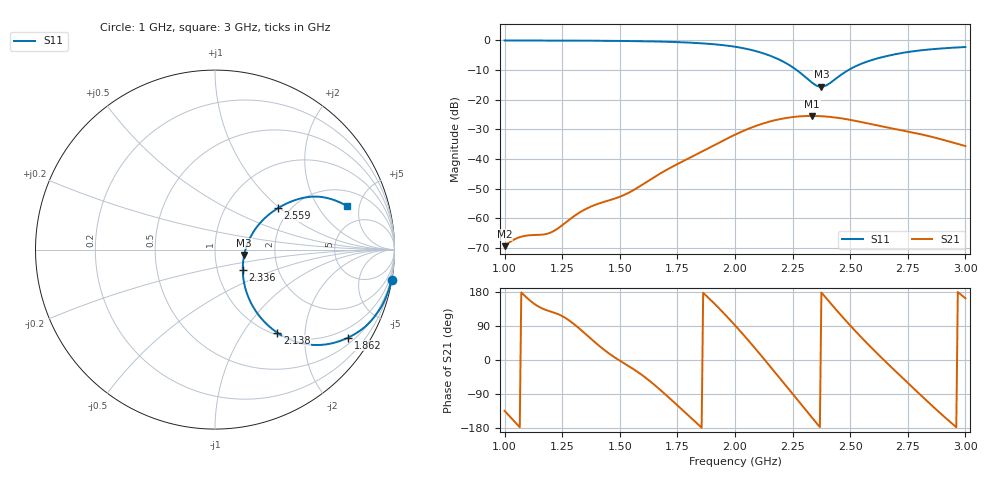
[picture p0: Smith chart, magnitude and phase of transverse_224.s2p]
! TOUCHSTONE file generated by CST MICROWAVE STUDIO
! Date and time: Tue Mar 11 13:57:52 2025
! Project name: transverse.cst
! Parameters = {Fracture=5; B=10; D=160; F=5; Feed=2.85625; L=100; M=20; R=0.384908; S=2; Theta=270; length=57.125; wave=114.25}
! Header version: 2024
! Port assignment regex: !\s*Touchstone port\s*([0-9]+)\s*=\s*(CST MWS port|CST DES external port|CST DES block port)\s*(.+)\s* \(\"(.*)\"\)(\s*mode\s*([0-9]+))?.*
! Touchstone port assignment:
! Touchstone port 1 = CST MWS port 1 ("")
! Touchstone port 2 = CST MWS port 2 ("")
# GHz S MA R 50
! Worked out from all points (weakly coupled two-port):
!   305 points, 1 GHz to 3 GHz, reference 50 ohm
!   highest |S21| = -25.47 dB at 2.336 GHz (marker M1); lowest = -69.4 dB at 1 GHz (marker M2)
!   lowest |S11| = -15.6 dB at 2.375 GHz (marker M3), VSWR 1.40, Z = 69.3 - j4.24 ohm
!   |S11| at or under -10 dB: 2.268 GHz to 2.492 GHz (224.4 MHz wide, 9.43 % of centre)
!   S12 and S22 are empty: the file has one direction only
!   S11 on the Smith chart (normalised r, x): 1 GHz: 0, -12; 1.862 GHz: 0.68, -3.20; 2.138 GHz: 1.04, -1.44; 2.336 GHz: 1.32, -0.31; 2.559 GHz: 1.73, +0.97; 3 GHz: 3.10, +3.75
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1  0.9979 -9.8  0.0003388 -134.1  0 0.0  0 0.0
1.03289  0.9973 -10.2  0.0004212 -156.1  0 0.0  0 0.0
1.07237  0.9965 -10.8  0.0004895 178.4  0 0.0  0 0.0
1.17105  0.995 -12.2  0.0005347 134.0  0 0.0  0 0.0
1.20395  0.9944 -12.8  0.000584 127.2  0 0.0  0 0.0
1.33553  0.9897 -15.2  0.001321 77.1  0 0.0  0 0.0
1.38816  0.9873 -16.3  0.001658 48.9  0 0.0  0 0.0
1.52632  0.9771 -19.7  0.002553 -11.6  0 0.0  0 0.0
1.67105  0.9564 -24.4  0.005562 -76.4  0 0.0  0 0.0
1.86184  0.8896 -33.4  0.01366 177.5  0 0.0  0 0.0
2  0.7822 -42.8  0.02569 91.6  0 0.0  0 0.0
2.07237  0.6878 -48.5  0.03399 41.4  0 0.0  0 0.0
2.13816  0.578 -53.2  0.0415 -6.3  0 0.0  0 0.0
2.23684  0.3816 -56.3  0.05019 -79.7  0 0.0  0 0.0
2.33553  0.1923 -36.5  0.05325 -153.0  0 0.0  0 0.0
2.375  0.1652 -10.4  0.05268 178.1  0 0.0  0 0.0
2.40132  0.1788 7.4  0.05178 159.2  0 0.0  0 0.0
2.46711  0.2743 29.2  0.04808 113.3  0 0.0  0 0.0
2.55921  0.4194 33.4  0.04113 52.8  0 0.0  0 0.0
2.67105  0.5585 30.8  0.03337 -14.7  0 0.0  0 0.0
2.82895  0.6949 24.2  0.02496 -105.7  0 0.0  0 0.0
3  0.7737 18.3  0.01654 162.9  0 0.0  0 0.0
